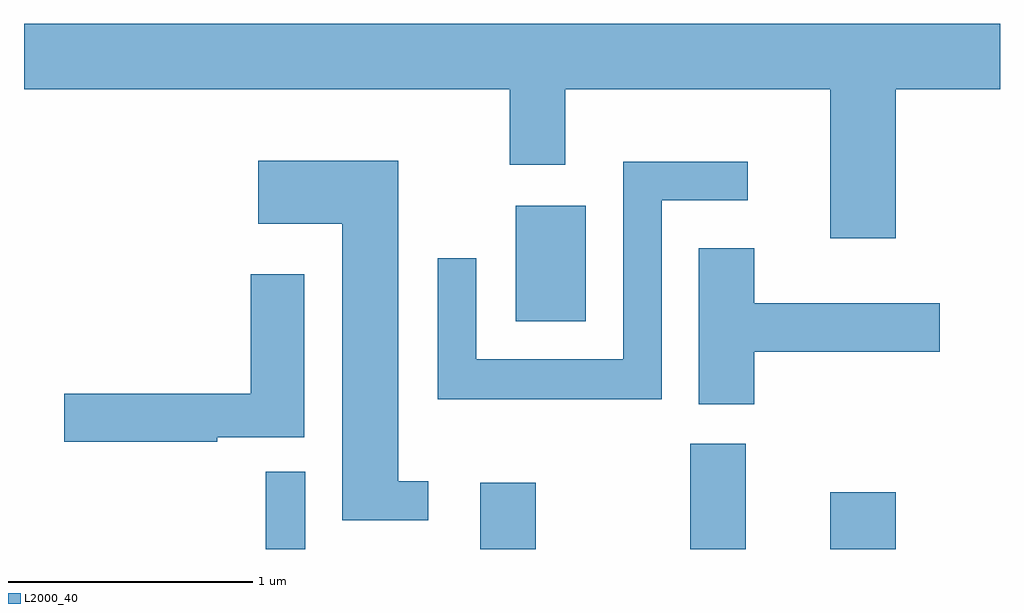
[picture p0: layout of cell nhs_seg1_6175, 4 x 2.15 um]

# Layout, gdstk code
import gdstk
lib = gdstk.Library(unit=1e-6, precision=1e-09)
def R(c, l, rs):  # rectangles x0, y0, x1, y1
    for r in rs: c.add(gdstk.rectangle(r[:2], r[2:], *l))
def P(c, l, *ps):  # polygons
    for p in ps: c.add(gdstk.Polygon(p, *l))
L2000_40 = (2000, 40)

nhs_seg1_6175 = lib.new_cell('nhs_seg1_6175')
R(nhs_seg1_6175, L2000_40, [(372.601,877.712,372.764,878.028), (373.481,877.712,373.709,877.984), (374.341,877.712,374.569,878.144), (374.916,877.712,375.184,877.944), (373.626,878.646,373.914,879.119)])
P(nhs_seg1_6175, L2000_40, [(371.611,879.596),(373.601,879.596),(373.601,879.286),(373.829,879.286),(373.829,879.596),(374.916,879.596),(374.916,878.986),(375.184,878.986),(375.184,879.596),(375.611,879.596),(375.611,879.864),(371.611,879.864)],
  [(373.268,877.989),(373.144,877.989),(373.144,879.304),(372.571,879.304),(372.571,879.046),(372.916,879.046),(372.916,877.831),(373.268,877.831)],
  [(374.224,879.141),(374.578,879.141),(374.578,879.299),(374.066,879.299),(374.066,878.489),(373.464,878.489),(373.464,878.903),(373.306,878.903),(373.306,878.326),(374.224,878.326)],
  [(374.604,878.521),(375.364,878.521),(375.364,878.719),(374.604,878.719),(374.604,878.944),(374.376,878.944),(374.376,878.306),(374.604,878.306)],
  [(372.404,878.171),(372.759,878.171),(372.759,878.839),(372.541,878.839),(372.541,878.349),(371.776,878.349),(371.776,878.151),(372.404,878.151)])

lib.write_gds('nhs_seg1_6175.gds')
